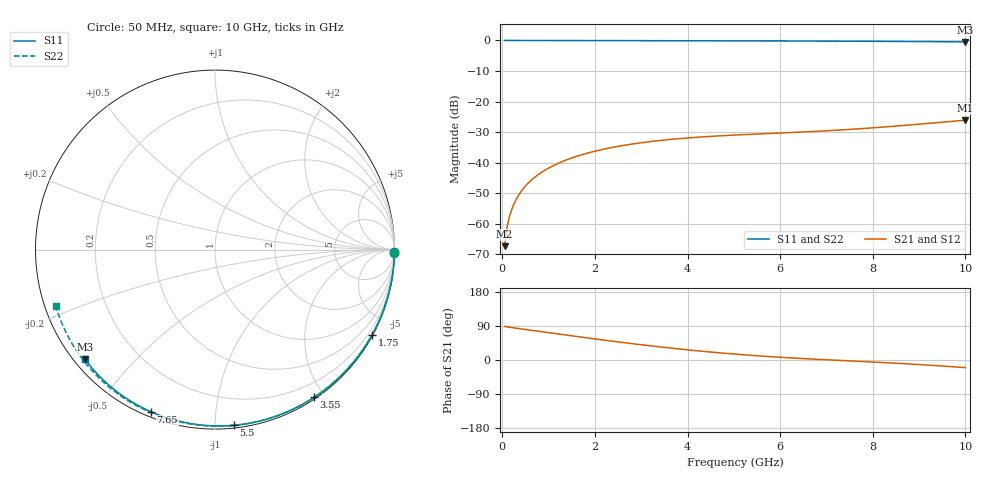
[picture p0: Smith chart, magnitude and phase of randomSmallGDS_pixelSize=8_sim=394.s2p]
! freq	dB(S11)	phase(S11)	dB(S12)	phase(S12)
!  dB(S21)	phase(S21)	dB(S22)	phase(S22)
!S-par simulation data
#  GHz  S  DB  R 50
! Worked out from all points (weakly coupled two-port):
!   200 points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, 50 MHz to 10 GHz, reference 50 ohm
!   highest |S21| = -26.13 dB at 10 GHz (marker M1); lowest = -67.4 dB at 50 MHz (marker M2)
!   lowest |S11| = -0.5 dB at 10 GHz (marker M3), VSWR 37.15, Z = 1.53 - j18.2 ohm
!   |S11| at or under -10 dB: nowhere
!   |S22| runs from -0.5 to 0.0 dB; largest |S21 - S12| = 0
!   S11 on the Smith chart (normalised r, x): 50 MHz: open; 1.75 GHz: 0.04, -3.95; 3.55 GHz: 0.02, -1.88; 5.5 GHz: 0.02, -1.11; 7.65 GHz: 0.02, -0.68; 10 GHz: 0.03, -0.36
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0.05  -0.00 -0.8  -67.39 88.6  -67.39 88.6  -0.00 -1.0
0.1  -0.00 -1.7  -61.42 87.4  -61.42 87.4  -0.00 -1.9
0.15  -0.00 -2.5  -57.95 86.4  -57.95 86.4  -0.00 -2.9
0.2  -0.00 -3.3  -55.50 85.5  -55.50 85.5  -0.00 -3.8
0.25  -0.00 -4.1  -53.60 84.7  -53.60 84.7  -0.00 -4.8
0.35  -0.00 -5.8  -50.73 83.0  -50.73 83.0  -0.00 -6.7
0.5  -0.01 -8.2  -47.68 80.6  -47.68 80.6  -0.01 -9.5
0.7  -0.01 -11.5  -44.81 77.2  -44.81 77.2  -0.01 -13.2
1  -0.02 -16.4  -41.81 72.2  -41.81 72.2  -0.02 -18.8
1.35  -0.03 -22.0  -39.34 66.3  -39.34 66.3  -0.03 -25.3
1.75  -0.04 -28.4  -37.29 59.6  -37.29 59.6  -0.04 -32.7
2.5  -0.05 -40.2  -34.69 47.7  -34.69 47.7  -0.06 -46.1
3.4  -0.07 -53.9  -32.78 34.6  -32.78 34.6  -0.08 -61.7
3.55  -0.08 -56.1  -32.54 32.6  -32.54 32.6  -0.09 -64.3
4.3  -0.10 -67.1  -31.62 23.2  -31.62 23.2  -0.11 -76.6
5.05  -0.12 -77.6  -30.97 15.2  -30.97 15.2  -0.14 -88.6
5.5  -0.14 -83.8  -30.65 11.1  -30.65 11.1  -0.16 -95.5
6.7  -0.19 -99.6  -29.83 2.4  -29.83 2.4  -0.22 -113.4
7.65  -0.25 -111.6  -29.00 -3.2  -29.00 -3.2  -0.29 -127.0
8.35  -0.31 -120.1  -28.23 -7.5  -28.23 -7.5  -0.35 -136.9
9.2  -0.38 -130.4  -27.18 -13.5  -27.18 -13.5  -0.43 -149.0
10  -0.47 -139.9  -26.13 -20.1  -26.13 -20.1  -0.53 -160.4
